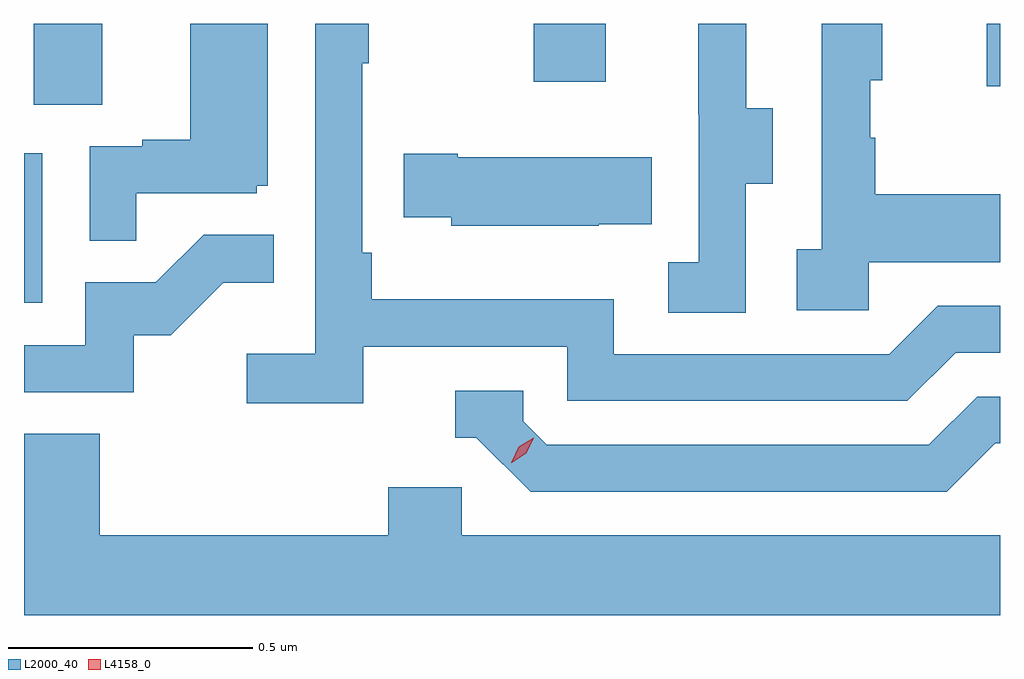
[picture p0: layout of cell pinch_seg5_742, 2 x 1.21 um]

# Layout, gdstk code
import gdstk
lib = gdstk.Library(unit=1e-6, precision=1e-09)
def R(c, l, rs):  # rectangles x0, y0, x1, y1
    for r in rs: c.add(gdstk.rectangle(r[:2], r[2:], *l))
def P(c, l, *ps):  # polygons
    for p in ps: c.add(gdstk.Polygon(p, *l))
L2000_40 = (2000, 40)
L4158_0 = (4158, 0)

pinch_seg5_742 = lib.new_cell('pinch_seg5_742')
R(pinch_seg5_742, L2000_40, [(877.845,909.348,877.882,909.655), (877.865,909.754,878.005,909.92), (879.818,909.792,879.845,909.92), (878.89,909.801,879.037,909.92)])
P(pinch_seg5_742, L2000_40, [(878.075,909.573),(878.322,909.573),(878.322,909.588),(878.344,909.588),(878.344,909.92),(878.186,909.92),(878.186,909.682),(878.087,909.682),(878.087,909.669),(877.98,909.669),(877.98,909.475),(878.075,909.475)],
  [(879.576,909.431),(879.845,909.431),(879.845,909.571),(879.589,909.571),(879.589,909.686),(879.579,909.686),(879.579,909.804),(879.604,909.804),(879.604,909.92),(879.48,909.92),(879.48,909.458),(879.429,909.458),(879.429,909.333),(879.576,909.333)],
  [(879.324,909.592),(879.379,909.592),(879.379,909.747),(879.325,909.747),(879.325,909.92),(879.227,909.92),(879.227,909.735),(879.228,909.735),(879.228,909.431),(879.165,909.431),(879.165,909.328),(879.324,909.328)],
  [(878.54,909.258),(878.958,909.258),(878.958,909.147),(879.655,909.147),(879.754,909.246),(879.845,909.246),(879.845,909.342),(879.717,909.342),(879.618,909.243),(879.054,909.243),(879.054,909.355),(878.558,909.355),(878.558,909.451),(878.538,909.451),(878.538,909.839),(878.551,909.839),(878.551,909.92),(878.442,909.92),(878.442,909.244),(878.301,909.244),(878.301,909.142),(878.54,909.142)],
  [(879.023,909.509),(879.131,909.509),(879.131,909.646),(878.734,909.646),(878.734,909.654),(878.623,909.654),(878.623,909.524),(878.721,909.524),(878.721,909.506),(879.023,909.506)],
  [(878.07,909.282),(878.146,909.282),(878.253,909.389),(878.357,909.389),(878.357,909.488),(878.213,909.488),(878.115,909.39),(877.971,909.39),(877.971,909.261),(877.845,909.261),(877.845,909.165),(878.07,909.165)],
  [(879.835,909.06),(879.845,909.06),(879.845,909.156),(879.798,909.156),(879.699,909.057),(878.916,909.057),(878.868,909.105),(878.868,909.168),(878.729,909.168),(878.729,909.072),(878.772,909.072),(878.883,908.961),(879.736,908.961)],
  [(879.845,908.872),(878.742,908.872),(878.742,908.97),(878.591,908.97),(878.591,908.872),(878,908.872),(878,909.08),(877.845,909.08),(877.845,908.708),(879.845,908.708)])
P(pinch_seg5_742, L4158_0, [(878.843,909.02),(878.843,909.02),(878.859,909.053),(878.89,909.072),(878.89,909.072),(878.89,909.072),(878.874,909.04),(878.844,909.02)])

lib.write_gds('pinch_seg5_742.gds')
